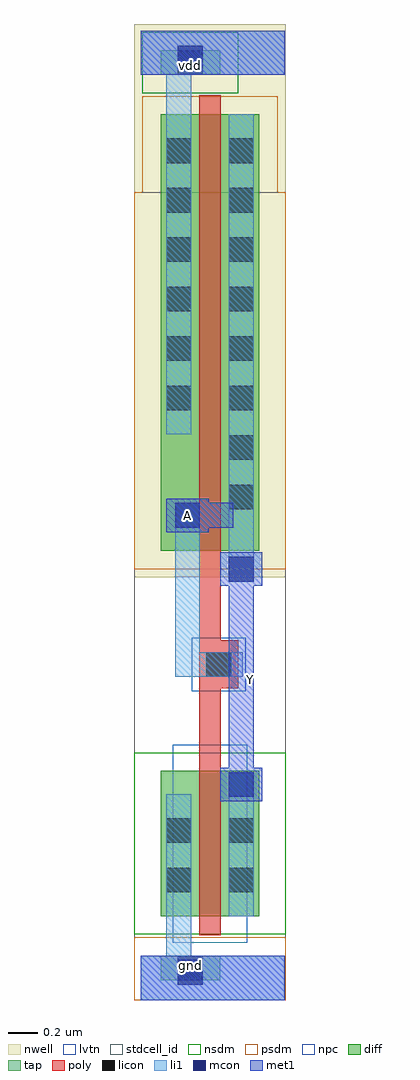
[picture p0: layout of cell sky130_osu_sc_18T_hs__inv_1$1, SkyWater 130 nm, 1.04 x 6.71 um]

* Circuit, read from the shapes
.subckt sky130_osu_sc_18T_hs__inv_1$1 A Y gnd vdd
XM1 Y A gnd gnd sky130_fd_pr__nfet_01v8_lvt w=1 l=0.15
XM2 Y A vdd vdd sky130_fd_pr__pfet_01v8 w=3 l=0.15
.ends

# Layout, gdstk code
import gdstk
lib = gdstk.Library(unit=1e-6, precision=1e-09)
def R(c, l, rs):  # rectangles x0, y0, x1, y1
    for r in rs: c.add(gdstk.rectangle(r[:2], r[2:], *l))
nwell = (64, 20)
diff = (65, 20)
tap = (65, 44)
poly = (66, 20)
licon = (66, 44)
li1 = (67, 20)
mcon = (67, 44)
met1 = (68, 20)
stdcell_id = (81, 4)
nsdm = (93, 44)
psdm = (94, 20)
npc = (95, 20)
lvtn = (125, 44)

sky130_osu_sc_18t_hs__in = lib.new_cell('sky130_osu_sc_18T_hs__inv_1$1')
R(sky130_osu_sc_18t_hs__in, nwell, [(-0.045,2.905,0.995,6.705), (-0.045,2.905,0.995,6.705)])
R(sky130_osu_sc_18t_hs__in, diff, [(0.135,0.575,0.815,1.575), (0.135,0.575,0.815,1.575), (0.135,3.085,0.815,6.085), (0.135,3.085,0.815,6.085)])
R(sky130_osu_sc_18t_hs__in, tap, [(0.135,0.135,0.545,0.305), (0.135,0.135,0.545,0.305), (0.135,6.355,0.545,6.525), (0.135,6.355,0.545,6.525)])
R(sky130_osu_sc_18t_hs__in, poly, [(0.4,0.445,0.55,2.14), (0.4,0.445,0.55,2.14), (0.4,2.14,0.67,2.47), (0.4,2.14,0.67,2.47), (0.4,2.47,0.55,6.215), (0.4,2.47,0.55,6.215)])
R(sky130_osu_sc_18t_hs__in, licon, [(0.255,0.135,0.425,0.305), (0.255,0.135,0.425,0.305), (0.175,0.74,0.345,0.91), (0.175,0.74,0.345,0.91), (0.605,0.74,0.775,0.91), (0.605,0.74,0.775,0.91), (0.175,1.08,0.345,1.25), (0.175,1.08,0.345,1.25), (0.605,1.08,0.775,1.25), (0.605,1.08,0.775,1.25), (0.45,2.22,0.62,2.39), (0.45,2.22,0.62,2.39), (0.605,3.37,0.775,3.54), (0.605,3.37,0.775,3.54), (0.605,3.71,0.775,3.88), (0.605,3.71,0.775,3.88), (0.175,4.05,0.345,4.22), (0.175,4.05,0.345,4.22), (0.605,4.05,0.775,4.22), (0.605,4.05,0.775,4.22), (0.175,4.39,0.345,4.56), (0.175,4.39,0.345,4.56), (0.605,4.39,0.775,4.56), (0.605,4.39,0.775,4.56), (0.175,4.73,0.345,4.9), (0.175,4.73,0.345,4.9), (0.605,4.73,0.775,4.9), (0.605,4.73,0.775,4.9), (0.175,5.07,0.345,5.24), (0.175,5.07,0.345,5.24), (0.605,5.07,0.775,5.24), (0.605,5.07,0.775,5.24), (0.175,5.41,0.345,5.58), (0.175,5.41,0.345,5.58), (0.605,5.41,0.775,5.58), (0.605,5.41,0.775,5.58), (0.175,5.75,0.345,5.92), (0.175,5.75,0.345,5.92), (0.605,5.75,0.775,5.92), (0.605,5.75,0.775,5.92), (0.255,6.355,0.425,6.525), (0.255,6.355,0.425,6.525)])
R(sky130_osu_sc_18t_hs__in, li1, [(0,0,0.99,0.305), (0,0,0.99,0.305), (0.175,0.305,0.345,1.415), (0.175,0.305,0.345,1.415), (0.605,0.575,0.775,1.565), (0.605,0.575,0.775,1.565), (0.235,2.22,0.7,2.39), (0.235,2.22,0.7,2.39), (0.235,2.39,0.405,3.415), (0.235,2.39,0.405,3.415), (0.605,2.875,0.775,6.085), (0.605,2.875,0.775,6.085), (0.175,3.885,0.345,6.355), (0.175,3.885,0.345,6.355), (0,6.355,0.99,6.66), (0,6.355,0.99,6.66)])
R(sky130_osu_sc_18t_hs__in, mcon, [(0.255,0.105,0.425,0.275), (0.255,0.105,0.425,0.275), (0.605,1.395,0.775,1.565), (0.605,1.395,0.775,1.565), (0.605,2.875,0.775,3.045), (0.605,2.875,0.775,3.045), (0.235,3.245,0.405,3.415), (0.235,3.245,0.405,3.415), (0.255,6.385,0.425,6.555), (0.255,6.385,0.425,6.555)])
R(sky130_osu_sc_18t_hs__in, met1, [(0,0,0.99,0.305), (0,0,0.99,0.305), (0.545,1.365,0.835,1.595), (0.545,1.365,0.835,1.595), (0.605,1.595,0.775,2.845), (0.605,1.595,0.775,2.845), (0.545,2.845,0.835,3.075), (0.545,2.845,0.835,3.075), (0.175,3.215,0.465,3.245), (0.175,3.215,0.465,3.245), (0.175,3.245,0.635,3.415), (0.175,3.245,0.635,3.415), (0.175,3.415,0.465,3.445), (0.175,3.415,0.465,3.445), (0,6.355,0.99,6.66), (0,6.355,0.99,6.66)])
R(sky130_osu_sc_18t_hs__in, stdcell_id, [(-0.045,0,0.995,5.55), (-0.045,0,0.995,5.55)])
R(sky130_osu_sc_18t_hs__in, nsdm, [(-0.045,0.45,0.995,1.7), (-0.045,0.45,0.995,1.7), (0.01,6.23,0.67,6.65), (0.01,6.23,0.67,6.65)])
R(sky130_osu_sc_18t_hs__in, psdm, [(-0.045,0,0.995,0.43), (-0.045,0,0.995,0.43), (-0.045,2.96,0.995,5.55), (-0.045,2.96,0.995,5.55), (0.01,5.55,0.94,6.21), (0.01,5.55,0.94,6.21)])
R(sky130_osu_sc_18t_hs__in, npc, [(0.35,2.12,0.72,2.49), (0.35,2.12,0.72,2.49)])
R(sky130_osu_sc_18t_hs__in, lvtn, [(0.22,0.395,0.73,1.755), (0.22,0.395,0.73,1.755)])
sky130_osu_sc_18t_hs__in.add(gdstk.Label('gnd', (0.34,0.24), layer=68, texttype=16))
sky130_osu_sc_18t_hs__in.add(gdstk.Label('vdd', (0.34,6.42), layer=68, texttype=16))
sky130_osu_sc_18t_hs__in.add(gdstk.Label('gnd', (0.34,0.24), layer=68, texttype=16))
sky130_osu_sc_18t_hs__in.add(gdstk.Label('vdd', (0.34,6.42), layer=68, texttype=16))
sky130_osu_sc_18t_hs__in.add(gdstk.Label('Y', (0.755,2.205), layer=68, texttype=5))
sky130_osu_sc_18t_hs__in.add(gdstk.Label('A', (0.32,3.33), layer=68, texttype=5))
sky130_osu_sc_18t_hs__in.add(gdstk.Label('Y', (0.755,2.205), layer=68, texttype=5))
sky130_osu_sc_18t_hs__in.add(gdstk.Label('A', (0.32,3.33), layer=68, texttype=5))

lib.write_gds('sky130_osu_sc_18T_hs__inv_1_1.gds')
